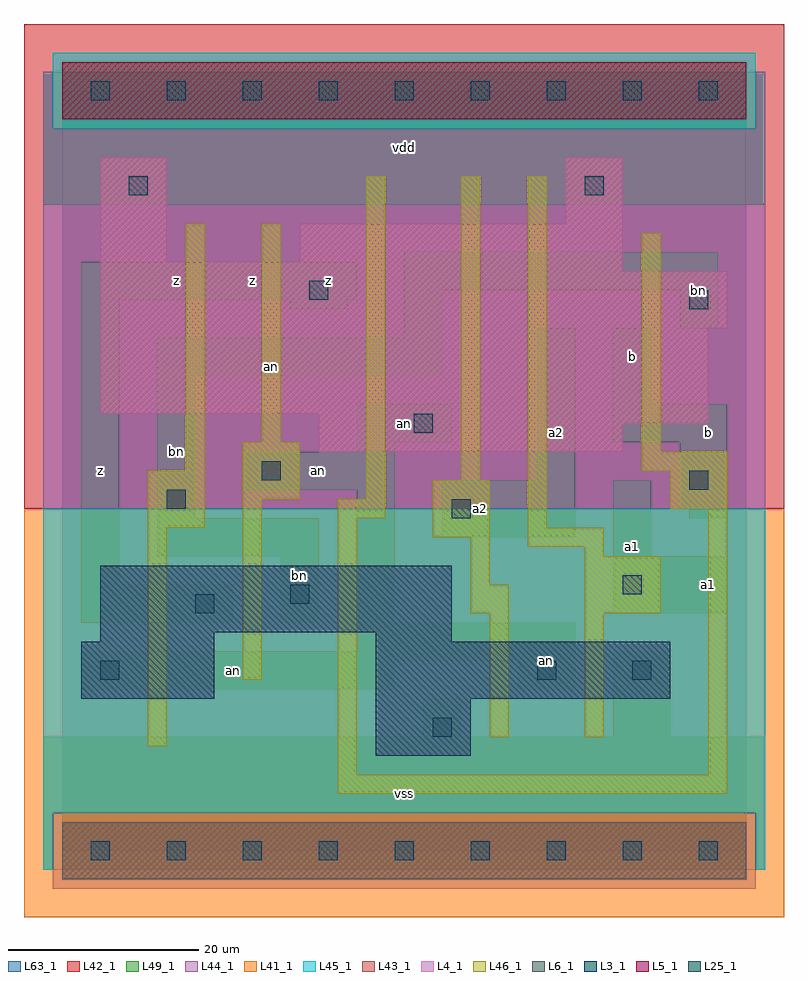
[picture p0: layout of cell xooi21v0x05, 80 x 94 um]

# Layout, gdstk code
import gdstk
lib = gdstk.Library(unit=1e-6, precision=1e-09)
def R(c, l, rs):  # rectangles x0, y0, x1, y1
    for r in rs: c.add(gdstk.rectangle(r[:2], r[2:], *l))
def A(c, l, x, y, w, h, nx, ny, dx, dy):  # array of equal rectangles
    R(c, l, [(x+i*dx, y+j*dy, x+i*dx+w, y+j*dy+h) for i in range(nx) for j in range(ny)])
L3_1 = (3, 1)
L4_1 = (4, 1)
L5_1 = (5, 1)
L6_1 = (6, 1)
L25_1 = (25, 1)
L41_1 = (41, 1)
L42_1 = (42, 1)
L43_1 = (43, 1)
L44_1 = (44, 1)
L45_1 = (45, 1)
L46_1 = (46, 1)
L49_1 = (49, 1)
L63_1 = (63, 1)

xooi21v0x05 = lib.new_cell('xooi21v0x05')
R(xooi21v0x05, L3_1, [(33,10,43,16), (2,16,16,22), (33,16,64,22), (4,22,16,23), (33,22,41,23), (4,23,41,30)])
R(xooi21v0x05, L4_1, [(27,42,59,45), (27,45,68,46), (4,46,68,55), (4,55,70,61), (4,61,59,62), (4,62,11,73), (25,62,59,66), (53,66,59,73)])
R(xooi21v0x05, L5_1, [(0,77,72,83)])
R(xooi21v0x05, L6_1, [(0,-3,72,3), (0,-3,72,3)])
A(xooi21v0x05, L25_1, 3, -1, 2, 2, 9, 2, 8, 80)
R(xooi21v0x05, L25_1, [(39,12,41,14), (4,18,6,20), (50,18,52,20), (60,18,62,20), (14,25,16,27), (24,26,26,28), (59,27,61,29), (41,35,43,37), (11,36,13,38), (66,38,68,40), (21,39,23,41), (37,44,39,46), (66,57,68,59), (26,58,28,60), (7,69,9,71), (55,69,57,71)])
R(xooi21v0x05, L41_1, [(-4,-7,76,36)])
R(xooi21v0x05, L42_1, [(-4,36,76,87)])
R(xooi21v0x05, L43_1, [(0,-3,72,3), (33,10,43,16), (2,16,16,22), (33,16,64,22), (4,22,16,23), (33,22,41,23), (4,23,41,30), (27,42,59,45), (27,45,68,46), (4,46,68,55), (4,55,70,61), (4,61,59,62), (4,62,11,73), (25,62,59,66), (53,66,59,73), (0,77,72,83)])
R(xooi21v0x05, L44_1, [(-1,-4,73,4), (-2,36,74,76), (-2,76,-1,82), (73,76,74,82)])
R(xooi21v0x05, L45_1, [(-2,-2,-1,4), (73,-2,74,4), (-2,4,74,36), (-1,76,73,84)])
R(xooi21v0x05, L46_1, [(29,6,70,8), (29,8,31,35), (68,8,70,36), (9,11,11,34), (45,12,47,25), (55,12,57,25), (19,18,21,37), (43,25,47,28), (55,25,63,31), (43,28,45,33), (55,31,57,32), (49,32,57,34), (39,33,45,39), (9,34,15,40), (49,34,51,71), (29,35,34,37), (64,36,70,40), (19,37,25,43), (32,37,34,71), (42,39,44,71), (13,40,15,66), (61,40,70,42), (61,42,63,65), (21,43,23,66)])
R(xooi21v0x05, L49_1, [(-2,-2,74,12), (38,12,42,16), (58,12,64,21), (2,17,35,20), (48,17,54,20), (2,20,54,21), (31,21,54,24), (2,24,18,28), (23,24,27,31), (31,24,35,38), (58,25,70,31), (2,28,6,58), (10,31,27,35), (58,31,62,39), (40,33,54,39), (10,35,14,50), (66,35,70,36), (65,36,70,43), (19,38,35,42), (50,39,54,55), (31,42,35,43), (31,43,41,47), (58,43,70,47), (58,47,62,55), (10,50,40,54), (36,54,40,59), (65,55,69,59), (24,57,30,58), (2,58,31,62), (36,59,69,63), (-2,68,74,82)])
R(xooi21v0x05, L63_1, [(0,0,72,80)])
xooi21v0x05.add(gdstk.Label('an', (22,51), layer=46, texttype=1))
xooi21v0x05.add(gdstk.Label('z', (4,40), layer=49, texttype=1))
xooi21v0x05.add(gdstk.Label('bn', (25,29), layer=49, texttype=1))
xooi21v0x05.add(gdstk.Label('bn', (12,42), layer=49, texttype=1))
xooi21v0x05.add(gdstk.Label('z', (12,60), layer=49, texttype=1))
xooi21v0x05.add(gdstk.Label('z', (20,60), layer=49, texttype=1))
xooi21v0x05.add(gdstk.Label('vss', (36,6), layer=49, texttype=1))
xooi21v0x05.add(gdstk.Label('an', (18,19), layer=49, texttype=1))
xooi21v0x05.add(gdstk.Label('an', (27,40), layer=49, texttype=1))
xooi21v0x05.add(gdstk.Label('an', (36,45), layer=49, texttype=1))
xooi21v0x05.add(gdstk.Label('z', (28,60), layer=49, texttype=1))
xooi21v0x05.add(gdstk.Label('vdd', (36,74), layer=49, texttype=1))
xooi21v0x05.add(gdstk.Label('an', (51,20), layer=49, texttype=1))
xooi21v0x05.add(gdstk.Label('a2', (44,36), layer=49, texttype=1))
xooi21v0x05.add(gdstk.Label('a2', (52,44), layer=49, texttype=1))
xooi21v0x05.add(gdstk.Label('a1', (68,28), layer=49, texttype=1))
xooi21v0x05.add(gdstk.Label('a1', (60,32), layer=49, texttype=1))
xooi21v0x05.add(gdstk.Label('b', (68,44), layer=49, texttype=1))
xooi21v0x05.add(gdstk.Label('b', (60,52), layer=49, texttype=1))
xooi21v0x05.add(gdstk.Label('bn', (67,59), layer=49, texttype=1))

lib.write_gds('xooi21v0x05.gds')
